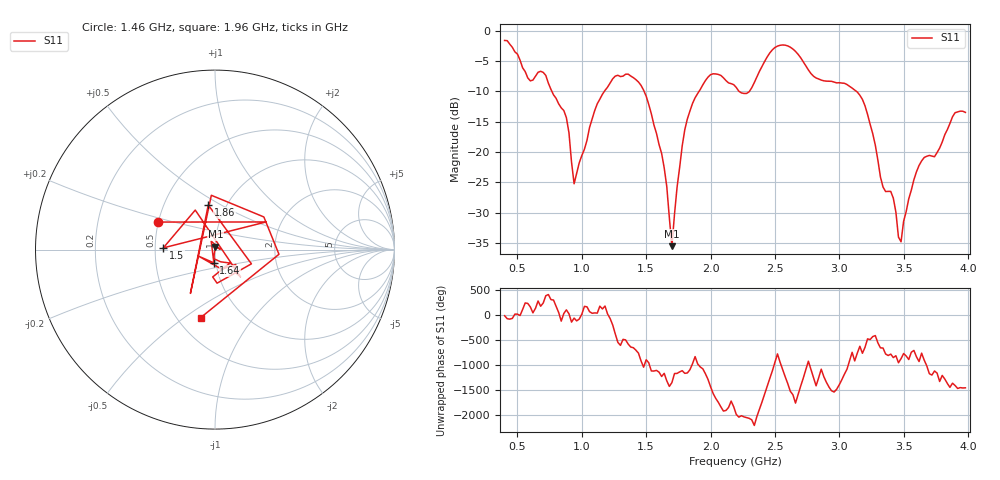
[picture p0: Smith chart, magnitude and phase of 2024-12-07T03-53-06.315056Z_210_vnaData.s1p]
!Created with skrf (http://scikit-rf.org).
# Hz S RI R 50.0
!freq ReS11 ImS11
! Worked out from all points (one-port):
!   180 points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, 400 MHz to 3.98 GHz, reference 50 ohm
!   lowest |S11| = -35.5 dB at 1.7 GHz (marker M1), VSWR 1.03, Z = 50.2 + j1.67 ohm
!   |S11| at or under -10 dB: 767 MHz to 1.175 GHz (408.3 MHz wide, 42 % of centre); 1.484 GHz to 1.911 GHz (427.2 MHz wide, 25.2 % of centre); 3.133 GHz to end of sweep (the widest 3 of 4)
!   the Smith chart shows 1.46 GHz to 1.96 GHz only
!   S11 on the Smith chart (normalised r, x): 1.46 GHz: 0.50, +0.17; 1.5 GHz: 0.55, +0.01; 1.64 GHz: 0.98, -0.14; 1.86 GHz: 0.82, +0.44; 1.96 GHz: 0.65, -0.58
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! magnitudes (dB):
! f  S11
! 400 MHz  -1.6
! 600 MHz  -8.3
! 700 MHz  -6.9
! 860 MHz  -13.2
! 900 MHz  -16.8
! 940 MHz  -25.2
! 1.12 GHz  -12.0
! 1.3 GHz  -7.6
! 1.46 GHz  -9.0
! 1.5 GHz  -10.8
! 1.64 GHz  -22.6
! 1.7 GHz  -35.5
! 1.76 GHz  -22.5
! 1.86 GHz  -12.0
! 1.96 GHz  -8.2
! 2.2 GHz  -9.4
! 2.3 GHz  -10.1
! 2.5 GHz  -2.8
! 2.64 GHz  -3.0
! 3.1 GHz  -9.5
! 3.2 GHz  -12.4
! 3.34 GHz  -25.8
! 3.42 GHz  -27.6
! 3.46 GHz  -34.0
! 3.48 GHz  -34.8
! 3.54 GHz  -27.7
! 3.64 GHz  -21.5
! 3.98 GHz  -13.5
